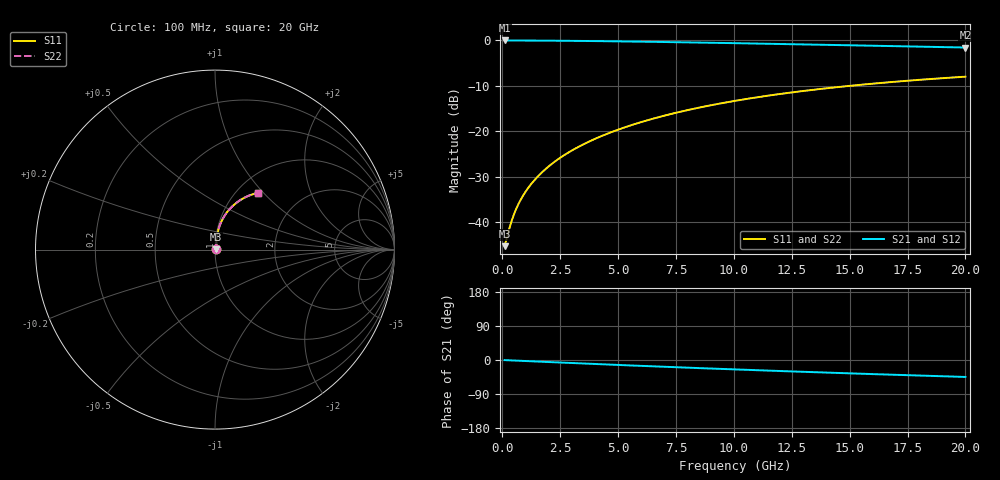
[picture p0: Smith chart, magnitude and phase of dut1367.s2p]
! Touchstone file exported from HFSS 2024.1.0
!  File:  C:/UserFiles/LocalFiles/RDL_TSV_Batchsim/temp_RDL_top_1367_1780366841.aedt
!  Generated:  10:23:34 AM Jun  2, 2026
!  Design:  RDL_top
!  Project:  temp_RDL_top_1367_1780366841
!  Setup:  Setup1
!  Solution:  Sweep
! Variables:
!  dtsv = 10.80580581um
!  hbump = 3um
!  htsv = 56.43um
!  ldown = 100um
!  lrdl = 642.03um
!  p = 40
!  p1 = 46.15um
!  rhole = 1um
!  t = 450um
!  tdown = 3.915915916um
!  trdl = 2.26um
!  wdown = 15.38538539um
!  wrdl = 21.34um
# GHz S MA R 50.000000
! Terminal data exported
! Port[1] = Box2_T1
! Port[2] = Box2_T2
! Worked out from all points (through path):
!   200 points, 100 MHz to 20 GHz, reference 50 ohm
!   highest |S21| = -0.04 dB at 100 MHz (marker M1); lowest = -1.6 dB at 20 GHz (marker M2)
!   group delay of S21, straight-line fit = 6.18 ps
!   lowest |S11| = -45.2 dB at 100 MHz (marker M3), VSWR 1.01, Z = 50.5 + j0.228 ohm
!   |S11| at or under -10 dB: start of sweep to 15.03 GHz
!   |S22| runs from -45.2 to -8.0 dB; largest |S21 - S12| = 4.3e-15
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0.1  0.005478 24.3  0.995 -0.3  0.995 -0.3  0.005478 24.3
! Gamma 0 0 0 0
! Port Impedance 50 0 50 0
0.3  0.008487 51.3  0.9946 -0.8  0.9946 -0.8  0.008487 51.3
0.4  0.01031 57.7  0.9944 -1.1  0.9944 -1.1  0.01031 57.7
0.6  0.01406 65.2  0.9939 -1.7  0.9939 -1.7  0.01406 65.2
0.7  0.01595 67.6  0.9936 -1.9  0.9936 -1.9  0.01595 67.6
0.9  0.01972 71.1  0.9931 -2.5  0.9931 -2.5  0.01972 71.1
1.2  0.02545 74.6  0.9923 -3.3  0.9923 -3.3  0.02545 74.6
1.4  0.02931 76.2  0.9918 -3.8  0.9918 -3.8  0.02931 76.2
1.7  0.03517 77.9  0.9908 -4.6  0.9908 -4.6  0.03517 77.9
2.2  0.04513 79.7  0.989 -5.9  0.989 -5.9  0.04513 79.7
2.8  0.05734 80.8  0.9864 -7.5  0.9864 -7.5  0.05735 80.8
3.5  0.07193 81.3  0.9826 -9.3  0.9826 -9.3  0.07194 81.3
4.2  0.08684 81.2  0.9784 -11.1  0.9784 -11.1  0.08685 81.2
5  0.1042 80.6  0.9728 -13.1  0.9728 -13.1  0.1042 80.7
5.9  0.1241 79.6  0.966 -15.3  0.966 -15.3  0.1241 79.7
6.8  0.1442 78.4  0.9586 -17.4  0.9586 -17.4  0.1442 78.4
8.4  0.1799 75.6  0.9445 -21.2  0.9445 -21.2  0.1799 75.6
10.1  0.2171 72.3  0.9286 -25.0  0.9286 -25.0  0.2172 72.3
11.7  0.251 69.0  0.9132 -28.5  0.9132 -28.5  0.2511 69.1
13.4  0.2853 65.5  0.8965 -32.0  0.8965 -32.0  0.2854 65.6
16.7  0.3459 58.9  0.864 -38.6  0.864 -38.6  0.346 58.9
20  0.3982 52.6  0.8322 -44.7  0.8322 -44.7  0.3983 52.7
